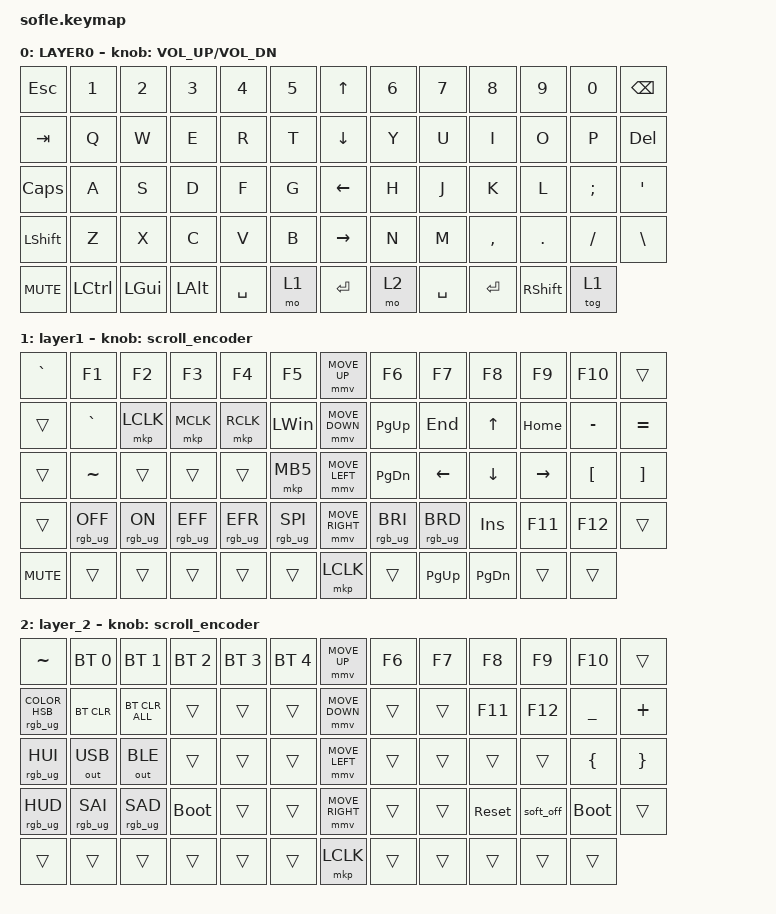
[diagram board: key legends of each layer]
#include <behaviors/mouse_keys.dtsi>
#include <dt-bindings/zmk/mouse.h>
#include <behaviors.dtsi>
#include <dt-bindings/zmk/bt.h>
#include <dt-bindings/zmk/keys.h>
#include <dt-bindings/zmk/outputs.h>
#include <dt-bindings/zmk/pointing.h>
#include <dt-bindings/zmk/rgb.h>

#define ZMK_MOUSE_DEFAULT_MOVE_VAL 1200  // 600
#define ZMK_MOUSE_DEFAULT_SCRL_VAL 20    // 10
#define U_MS_U &mmv MOVE_UP
#define U_MS_D &mmv MOVE_DOWN
#define U_MS_L &mmv MOVE_LEFT
#define U_MS_R &mmv MOVE_RIGHT
#define ZMK_MOUSE_DEFAULT_MOVE_VAL 1200  //  600
#define ZMK_MOUSE_DEFAULT_SCRL_VAL 20    // 10

/ {
    behaviors {
        mmv {
            acceleration-exponent = <1>;      // 1
            time-to-max-speed-ms = <900>;    // 40
            delay-ms = <0>;                   // 0
        };

        msc {
            acceleration-exponent = <1>;      // 0
            time-to-max-speed-ms = <400>;      // 500
            delay-ms = <0>;                   //   10
        };
    };

    scroll_encoder: scroll_encoder {
        compatible = "zmk,behavior-sensor-rotate";
        #sensor-binding-cells = <0>;
        bindings = <&msc SCRL_DOWN>, <&msc SCRL_UP>;

        tap-ms = <30>;
    };

    combos {
        compatible = "zmk,combos";

        small {
            bindings = <&kp LG(DOWN)>;
            key-positions = <18>;
            layers = <1>;
        };
    };

    keymap {
        compatible = "zmk,keymap";

        layer0 {
            bindings = <
&kp ESC     &kp N1     &kp N2        &kp N3        &kp N4     &kp N5    &kp UP_ARROW     &kp N6  &kp N7     &kp N8     &kp N9           &kp N0    &kp BSPC
&kp TAB     &kp Q      &kp W         &kp E         &kp R      &kp T     &kp DOWN_ARROW   &kp Y   &kp U      &kp I      &kp O            &kp P     &kp DELETE
&kp CAPS    &kp A      &kp S         &kp D         &kp F      &kp G     &kp LEFT_ARROW   &kp H   &kp J      &kp K      &kp L            &kp SEMI  &kp APOS
&kp LSHFT   &kp Z      &kp X         &kp C         &kp V      &kp B     &kp RIGHT_ARROW  &kp N   &kp M      &kp COMMA  &kp DOT          &kp FSLH  &kp BSLH
&kp C_MUTE  &kp LCTRL  &kp LEFT_GUI  &kp LEFT_ALT  &kp SPACE  &mo 1     &kp ENTER        &mo 2   &kp SPACE  &kp ENTER  &kp RIGHT_SHIFT  &tog 1
            >;

            sensor-bindings = <&inc_dec_kp C_VOLUME_UP C_VOL_DN>;
            display-name = "LAYER0";
        };

        layer_1 {
            bindings = <
&kp GRAVE   &kp F1           &kp F2          &kp F3           &kp F4           &kp F5             &mmv MOVE_UP     &kp F6           &kp F7           &kp F8      &kp F9     &kp F10           &trans
&trans      &kp GRAVE        &mkp LCLK       &mkp MCLK        &mkp RCLK        &kp LEFT_WIN       &mmv MOVE_DOWN   &kp PG_UP        &kp END          &kp UP      &kp HOME   &kp MINUS         &kp EQUAL
&trans      &kp TILDE        &trans          &trans           &trans           &mkp MB5           &mmv MOVE_LEFT   &kp PG_DN        &kp LEFT         &kp DOWN    &kp RIGHT  &kp LEFT_BRACKET  &kp RIGHT_BRACKET
&trans      &rgb_ug RGB_OFF  &rgb_ug RGB_ON  &rgb_ug RGB_EFF  &rgb_ug RGB_EFR  &rgb_ug RGB_SPI    &mmv MOVE_RIGHT  &rgb_ug RGB_BRI  &rgb_ug RGB_BRD  &kp INSERT  &kp F11    &kp F12           &trans
&kp C_MUTE  &trans           &trans          &trans           &trans           &trans             &mkp LCLK        &trans           &kp PG_UP        &kp PG_DN   &trans     &trans
            >;

            display-name = "layer1";
            sensor-bindings = <&scroll_encoder>;
        };

        layer_2 {
            bindings = <
&kp TILDE                         &bt BT_SEL 0     &bt BT_SEL 1     &bt BT_SEL 2  &bt BT_SEL 3  &bt BT_SEL 4    &mmv MOVE_UP     &kp F6  &kp F7  &kp F8      &kp F9     &kp F10      &trans
&rgb_ug RGB_COLOR_HSB(355,79,47)  &bt BT_CLR       &bt BT_CLR_ALL   &trans        &trans        &trans          &mmv MOVE_DOWN   &trans  &trans  &kp F11     &kp F12    &kp UNDER    &kp PLUS
&rgb_ug RGB_HUI                   &out OUT_USB     &out OUT_BLE     &trans        &trans        &trans          &mmv MOVE_LEFT   &trans  &trans  &trans      &trans     &kp LBRC     &kp RBRC
&rgb_ug RGB_HUD                   &rgb_ug RGB_SAI  &rgb_ug RGB_SAD  &bootloader   &trans        &trans          &mmv MOVE_RIGHT  &trans  &trans  &sys_reset  &soft_off  &bootloader  &trans
&trans                            &trans           &trans           &trans        &trans        &trans          &mkp LCLK        &trans  &trans  &trans      &trans     &trans
            >;

            sensor-bindings = <&scroll_encoder>;
        };
    };
};
